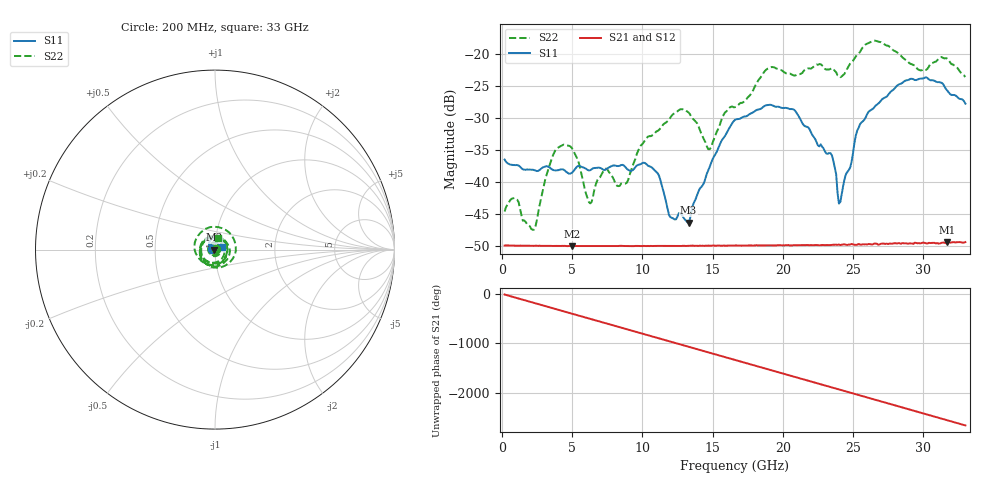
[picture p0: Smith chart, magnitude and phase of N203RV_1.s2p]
# GHZ S RI R 50
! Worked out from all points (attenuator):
!   329 points, 200 MHz to 33 GHz, reference 50 ohm
!   highest |S21| = -49.44 dB at 31.7 GHz (marker M1); lowest = -50.1 dB at 5 GHz (marker M2)
!   lowest |S11| = -46.4 dB at 13.3 GHz (marker M3), VSWR 1.01, Z = 49.5 + j0.013 ohm
!   |S11| at or under -10 dB: start of sweep to end of sweep
!   |S22| runs from -47.5 to -17.9 dB; largest |S21 - S12| = 7.2e-05
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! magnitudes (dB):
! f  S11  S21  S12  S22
! 200 MHz  -36.5  -50.0  -49.9  -44.7
! 2.3 GHz  -38.2  -50.0  -50.0  -47.5
! 3.7 GHz  -38.2  -50.0  -50.0  -35.6
! 5 GHz  -38.6  -50.1  -50.1  -34.8
! 5.7 GHz  -37.7  -50.0  -50.0  -39.0
! 6.3 GHz  -38.2  -50.1  -50.0  -43.4
! 7.4 GHz  -38.1  -50.1  -50.1  -37.9
! 8.9 GHz  -38.0  -50.1  -50.0  -40.2
! 11.2 GHz  -39.1  -50.0  -50.0  -31.8
! 11.9 GHz  -45.2  -50.0  -50.0  -30.3
! 13.3 GHz  -46.4  -50.0  -50.0  -29.1
! 14.8 GHz  -37.7  -50.0  -50.0  -34.9
! 16.6 GHz  -30.3  -50.0  -50.0  -28.3
! 18.9 GHz  -28.0  -49.9  -49.9  -22.3
! 20.7 GHz  -28.6  -49.9  -49.9  -23.3
! 22.1 GHz  -32.7  -49.9  -49.9  -22.1
! 23.5 GHz  -35.9  -49.9  -49.8  -22.2
! 24 GHz  -43.4  -49.8  -49.9  -23.4
! 25.5 GHz  -31.0  -49.8  -49.8  -19.7
! 27.6 GHz  -26.1  -49.7  -49.7  -18.8
! 31.7 GHz  -25.7  -49.4  -49.6  -20.7
! 33 GHz  -27.8  -49.4  -49.4  -23.6
